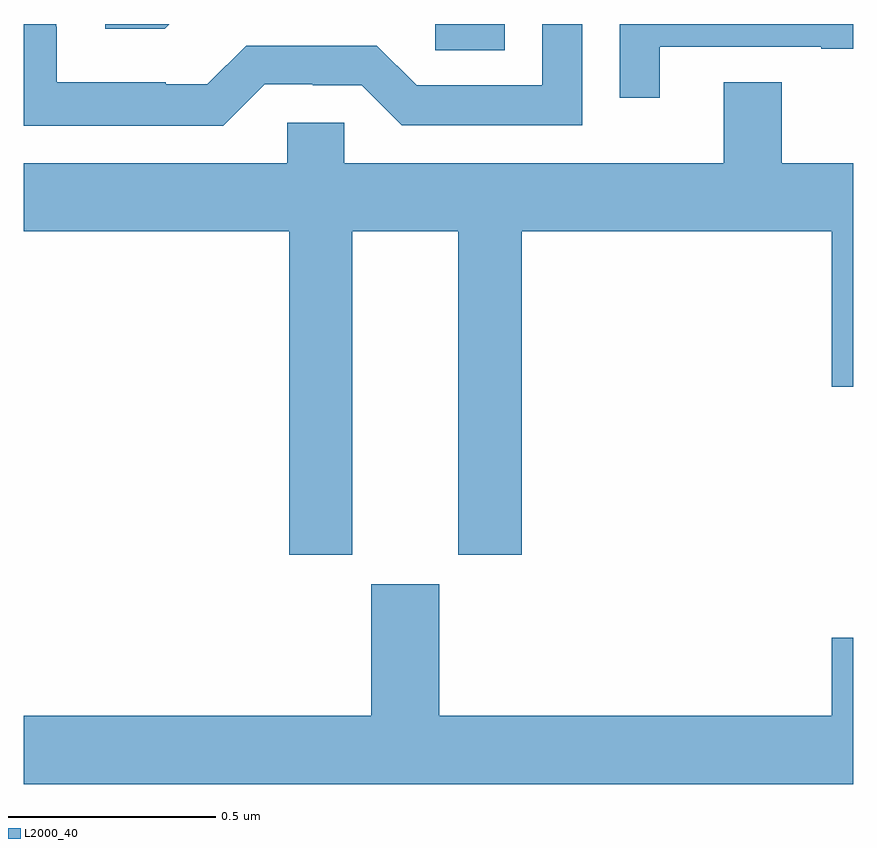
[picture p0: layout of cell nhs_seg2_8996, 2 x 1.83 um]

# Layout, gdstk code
import gdstk
lib = gdstk.Library(unit=1e-6, precision=1e-09)
def R(c, l, rs):  # rectangles x0, y0, x1, y1
    for r in rs: c.add(gdstk.rectangle(r[:2], r[2:], *l))
def P(c, l, *ps):  # polygons
    for p in ps: c.add(gdstk.Polygon(p, *l))
L2000_40 = (2000, 40)

nhs_seg2_8996 = lib.new_cell('nhs_seg2_8996')
R(nhs_seg2_8996, L2000_40, [(223.992,650.737,224.16,650.8)])
P(nhs_seg2_8996, L2000_40, [(223.351,650.8),(223.197,650.8),(223.197,650.789),(223.34,650.789)],
  [(224.533,650.745),(224.923,650.745),(224.923,650.74),(225,650.74),(225,650.8),(224.437,650.8),(224.437,650.622),(224.533,650.622)],
  [(223.581,650.655),(223.697,650.655),(223.697,650.652),(223.815,650.652),(223.911,650.556),(224.346,650.556),(224.346,650.8),(224.25,650.8),(224.25,650.652),(223.947,650.652),(223.851,650.748),(223.536,650.748),(223.443,650.655),(223.343,650.655),(223.343,650.659),(223.08,650.659),(223.08,650.793),(223.078,650.793),(223.078,650.8),(223,650.8),(223,650.555),(223.481,650.555)],
  [(223.792,650.3),(224.048,650.3),(224.048,649.521),(224.201,649.521),(224.201,650.3),(224.948,650.3),(224.948,649.926),(225,649.926),(225,650.464),(224.827,650.464),(224.827,650.659),(224.687,650.659),(224.687,650.464),(223.773,650.464),(223.773,650.562),(223.635,650.562),(223.635,650.464),(223,650.464),(223,650.3),(223.64,650.3),(223.64,649.521),(223.792,649.521)],
  [(225,649.321),(224.948,649.321),(224.948,649.132),(224.002,649.132),(224.002,649.449),(223.838,649.449),(223.838,649.132),(223,649.132),(223,648.968),(225,648.968)])

lib.write_gds('nhs_seg2_8996.gds')
